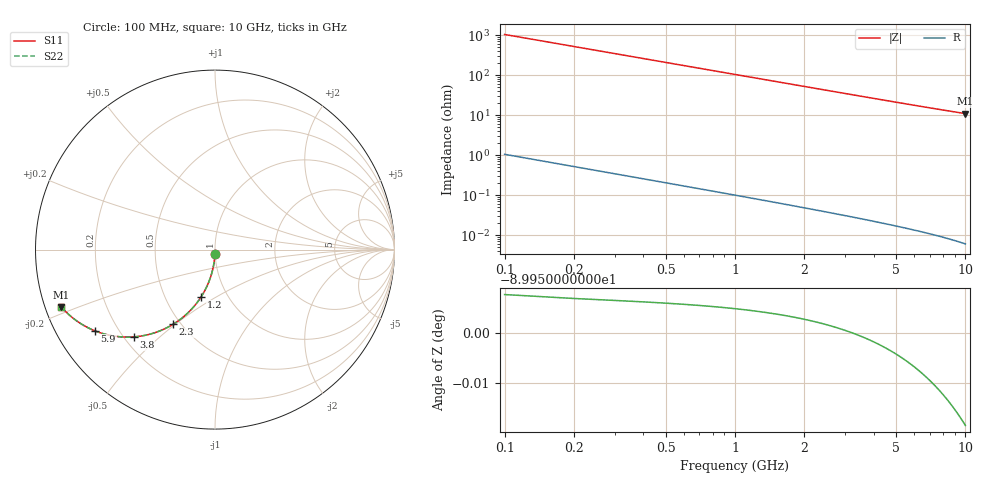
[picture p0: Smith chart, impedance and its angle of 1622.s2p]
# Hz S RI R 50.00
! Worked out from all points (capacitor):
!   100 points, 100 MHz to 10 GHz, reference 50 ohm
!   read as one part in shunt: C = 1.52 pF near 100 MHz
!   lowest |Z| = 11 ohm at 10 GHz (marker M1)
!   S11 on the Smith chart (normalised r, x): 100 MHz: 1.00, -0.05; 1.2 GHz: 0.75, -0.43; 2.3 GHz: 0.46, -0.49; 3.8 GHz: 0.24, -0.41; 5.9 GHz: 0.12, -0.30; 10 GHz: 0.05, -0.18
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1e8  -0.000395 -0.0236  0.9992 -0.0242  0.9992 -0.0242  -0.000395 -0.0236
2e8  -0.00213 -0.0472  0.9975 -0.0483  0.9975 -0.0483  -0.00213 -0.0472
3e8  -0.00499 -0.0705  0.9946 -0.0723  0.9946 -0.0723  -0.00499 -0.0705
4e8  -0.00897 -0.0937  0.9906 -0.096  0.9906 -0.096  -0.00897 -0.0937
5e8  -0.014 -0.1165  0.9856 -0.1194  0.9856 -0.1194  -0.014 -0.1165
6e8  -0.0201 -0.1389  0.9795 -0.1424  0.9795 -0.1424  -0.0201 -0.1389
7e8  -0.0272 -0.1609  0.9723 -0.1649  0.9723 -0.1649  -0.0272 -0.1609
9e8  -0.0443 -0.2032  0.9553 -0.2084  0.9553 -0.2084  -0.0443 -0.2032
1.2e9  -0.0762 -0.2617  0.9233 -0.2687  0.9233 -0.2687  -0.0762 -0.2617
1.5e9  -0.1143 -0.3136  0.8853 -0.3222  0.8853 -0.3222  -0.1143 -0.3136
1.8e9  -0.1567 -0.358  0.8428 -0.3684  0.8428 -0.3684  -0.1567 -0.358
2.3e9  -0.2329 -0.4157  0.7666 -0.429  0.7666 -0.429  -0.2329 -0.4157
2.8e9  -0.3105 -0.4542  0.6889 -0.4704  0.6889 -0.4704  -0.3105 -0.4542
3.4e9  -0.3993 -0.4794  0.6 -0.4992  0.6 -0.4992  -0.3993 -0.4794
3.8e9  -0.4539 -0.4864  0.5454 -0.5084  0.5454 -0.5084  -0.4539 -0.4864
4.4e9  -0.5275 -0.4859  0.4717 -0.5115  0.4717 -0.5115  -0.5275 -0.4859
5.1e9  -0.6006 -0.4743  0.3985 -0.504  0.3985 -0.504  -0.6006 -0.4743
5.9e9  -0.6687 -0.4527  0.3302 -0.4871  0.3302 -0.4871  -0.6687 -0.4527
6.7e9  -0.7232 -0.4269  0.2755 -0.4662  0.2755 -0.4662  -0.7232 -0.4269
7.5e9  -0.7668 -0.3998  0.2318 -0.4439  0.2318 -0.4439  -0.7668 -0.3998
8.4e9  -0.8056 -0.3697  0.1927 -0.4193  0.1927 -0.4193  -0.8056 -0.3697
1e10  -0.8557 -0.3199  0.142 -0.3794  0.142 -0.3794  -0.8557 -0.3199
